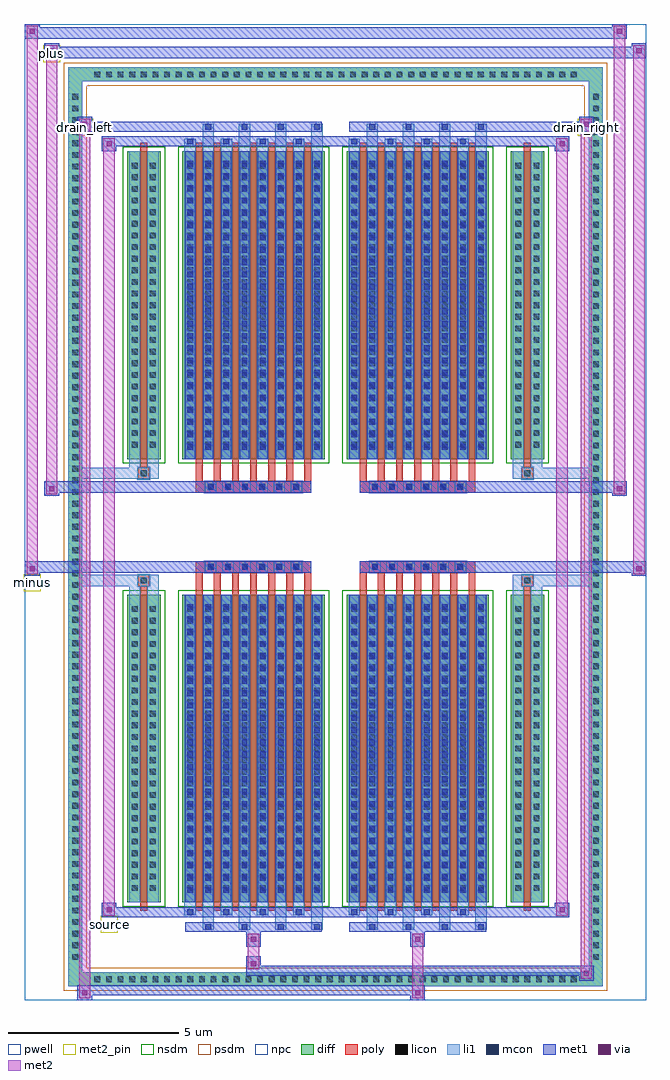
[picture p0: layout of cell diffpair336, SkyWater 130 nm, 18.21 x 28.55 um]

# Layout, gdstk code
import gdstk
lib = gdstk.Library(unit=1e-6, precision=5e-09)
def R(c, l, rs):  # rectangles x0, y0, x1, y1
    for r in rs: c.add(gdstk.rectangle(r[:2], r[2:], *l))
def A(c, l, x, y, w, h, nx, ny, dx, dy):  # array of equal rectangles
    R(c, l, [(x+i*dx, y+j*dy, x+i*dx+w, y+j*dy+h) for i in range(nx) for j in range(ny)])
def P(c, l, *ps):  # polygons
    for p in ps: c.add(gdstk.Polygon(p, *l))
pwell = (64, 44)
diff = (65, 20)
poly = (66, 20)
licon = (66, 44)
li1 = (67, 20)
mcon = (67, 44)
met1 = (68, 20)
via = (68, 44)
met2_pin = (69, 16)
met2 = (69, 20)
nsdm = (93, 44)
psdm = (94, 20)
npc = (95, 20)

diffpair336 = lib.new_cell('diffpair336')
R(diffpair336, pwell, [(-9.09,-13.84,9.09,14.71), (-6.41,-12.03,-0.01,-0.805), (0.01,-12.03,6.41,-0.805), (-6.41,0.805,-0.01,12.03), (0.01,0.805,6.41,12.03)])
A(diffpair336, diff, -7.175, -13.44, 0.41, 0.41, 42, 2, 0.34, 26.47)
A(diffpair336, diff, -7.82, -12.785, 0.41, 0.41, 1, 75, 0, 0.34)
A(diffpair336, diff, 7.41, -12.785, 0.41, 0.41, 1, 75, 0, 0.34)
R(diffpair336, diff, [(-7.175,-13.44,7.175,-13.03), (-7.82,-12.785,-7.41,12.785), (7.41,-12.785,7.82,12.785), (-6.1,-10.985,-5.12,-1.985), (-4.48,-10.985,-0.32,-1.985), (0.32,-10.985,4.48,-1.985), (5.12,-10.985,6.1,-1.985), (-6.1,1.985,-5.12,10.985), (-4.48,1.985,-0.32,10.985), (0.32,1.985,4.48,10.985), (5.12,1.985,6.1,10.985), (-7.175,13.03,7.175,13.44)])
P(diffpair336, diff, [(7.82,13.44),(-7.82,13.44),(-7.82,-13.03),(-7.41,-13.03),(-7.41,13.03),(7.41,13.03),(7.41,-13.03),(-7.41,-13.03),(-7.82,-13.03),(-7.82,-13.44),(7.82,-13.44)])
A(diffpair336, poly, -4.09, -11.235, 0.2, 9.5, 7, 2, 0.53, 12.97)
A(diffpair336, poly, 0.71, -11.235, 0.2, 9.5, 7, 2, 0.53, 12.97)
A(diffpair336, poly, -4.09, -1.735, 0.2, 0.4, 7, 2, 0.53, 3.07)
A(diffpair336, poly, 0.71, -1.735, 0.2, 0.4, 7, 2, 0.53, 3.07)
A(diffpair336, poly, -3.815, -1.335, 0.33, 0.33, 6, 2, 0.5, 2.34)
A(diffpair336, poly, 0.985, -1.335, 0.33, 0.33, 6, 2, 0.5, 2.34)
R(diffpair336, poly, [(-5.71,-11.235,-5.51,-1.735), (5.51,-11.235,5.71,-1.735), (-5.775,-1.735,-5.445,-1.405), (-5.775,-1.735,-5.445,-1.405), (5.445,-1.735,5.775,-1.405), (5.445,-1.735,5.775,-1.405), (-4.09,-1.335,-0.71,-1.005), (0.71,-1.335,4.09,-1.005), (-4.09,1.005,-0.71,1.335), (0.71,1.005,4.09,1.335), (-5.775,1.405,-5.445,1.735), (-5.775,1.405,-5.445,1.735), (5.445,1.405,5.775,1.735), (5.445,1.405,5.775,1.735), (-5.71,1.735,-5.51,11.235), (5.51,1.735,5.71,11.235)])
A(diffpair336, licon, -7.055, -13.32, 0.17, 0.17, 42, 2, 0.34, 26.47)
A(diffpair336, licon, -7.7, -12.665, 0.17, 0.17, 1, 75, 0, 0.34)
A(diffpair336, licon, 7.53, -12.665, 0.17, 0.17, 1, 75, 0, 0.34)
A(diffpair336, licon, -5.96, -10.65, 0.17, 0.17, 1, 25, 0, 0.34)
A(diffpair336, licon, -5.43, -10.65, 0.17, 0.17, 1, 25, 0, 0.34)
A(diffpair336, licon, -4.34, -10.65, 0.17, 0.17, 8, 25, 0.53, 0.34)
A(diffpair336, licon, 0.46, -10.65, 0.17, 0.17, 8, 25, 0.53, 0.34)
A(diffpair336, licon, 5.26, -10.65, 0.17, 0.17, 1, 25, 0, 0.34)
A(diffpair336, licon, 5.79, -10.65, 0.17, 0.17, 1, 25, 0, 0.34)
A(diffpair336, licon, -3.735, -1.255, 0.17, 0.17, 6, 2, 0.5, 2.34)
A(diffpair336, licon, 1.065, -1.255, 0.17, 0.17, 6, 2, 0.5, 2.34)
A(diffpair336, licon, -5.96, 2.32, 0.17, 0.17, 1, 25, 0, 0.34)
A(diffpair336, licon, -5.43, 2.32, 0.17, 0.17, 1, 25, 0, 0.34)
A(diffpair336, licon, -4.34, 2.32, 0.17, 0.17, 8, 25, 0.53, 0.34)
A(diffpair336, licon, 0.46, 2.32, 0.17, 0.17, 8, 25, 0.53, 0.34)
A(diffpair336, licon, 5.26, 2.32, 0.17, 0.17, 1, 25, 0, 0.34)
A(diffpair336, licon, 5.79, 2.32, 0.17, 0.17, 1, 25, 0, 0.34)
R(diffpair336, licon, [(-5.695,-1.655,-5.525,-1.485), (5.525,-1.655,5.695,-1.485), (-5.695,1.485,-5.525,1.655), (5.525,1.485,5.695,1.655)])
A(diffpair336, li1, -7.135, -13.4, 0.33, 0.33, 42, 2, 0.34, 26.47)
A(diffpair336, li1, -7.78, -12.745, 0.33, 0.33, 1, 75, 0, 0.34)
A(diffpair336, li1, 7.45, -12.745, 0.33, 0.33, 1, 75, 0, 0.34)
A(diffpair336, li1, -3.89, -11.79, 0.33, 0.805, 4, 2, 1.06, 22.775)
A(diffpair336, li1, -3.81, -11.79, 0.17, 0.17, 4, 2, 1.06, 23.41)
A(diffpair336, li1, 0.91, -11.79, 0.33, 0.805, 4, 2, 1.06, 22.775)
A(diffpair336, li1, 0.99, -11.79, 0.17, 0.17, 4, 2, 1.06, 23.41)
A(diffpair336, li1, -4.42, -11.36, 0.33, 0.375, 4, 2, 1.06, 22.345)
A(diffpair336, li1, -4.34, -11.36, 0.17, 0.17, 4, 2, 1.06, 22.55)
A(diffpair336, li1, 0.38, -11.36, 0.33, 0.375, 4, 2, 1.06, 22.345)
A(diffpair336, li1, 0.46, -11.36, 0.17, 0.17, 4, 2, 1.06, 22.55)
A(diffpair336, li1, -4.42, -10.985, 0.33, 9, 8, 2, 0.53, 12.97)
A(diffpair336, li1, 0.38, -10.985, 0.33, 9, 8, 2, 0.53, 12.97)
A(diffpair336, li1, -6.04, -10.73, 0.33, 0.33, 1, 25, 0, 0.34)
A(diffpair336, li1, -5.51, -10.73, 0.33, 0.33, 1, 25, 0, 0.34)
A(diffpair336, li1, -4.42, -10.73, 0.33, 0.33, 8, 25, 0.53, 0.34)
A(diffpair336, li1, 0.38, -10.73, 0.33, 0.33, 8, 25, 0.53, 0.34)
A(diffpair336, li1, 5.18, -10.73, 0.33, 0.33, 1, 25, 0, 0.34)
A(diffpair336, li1, 5.71, -10.73, 0.33, 0.33, 1, 25, 0, 0.34)
A(diffpair336, li1, -4.34, -10.71, 0.17, 0.17, 8, 24, 0.53, 0.36)
A(diffpair336, li1, -4.34, -10.71, 0.17, 8.45, 8, 2, 0.53, 12.97)
A(diffpair336, li1, 0.46, -10.71, 0.17, 0.17, 8, 24, 0.53, 0.36)
A(diffpair336, li1, 0.46, -10.71, 0.17, 8.45, 8, 2, 0.53, 12.97)
A(diffpair336, li1, -3.815, -1.335, 0.33, 0.33, 6, 2, 0.5, 2.34)
A(diffpair336, li1, 0.985, -1.335, 0.33, 0.33, 6, 2, 0.5, 2.34)
A(diffpair336, li1, -6.04, 2.24, 0.33, 0.33, 1, 25, 0, 0.34)
A(diffpair336, li1, -5.51, 2.24, 0.33, 0.33, 1, 25, 0, 0.34)
A(diffpair336, li1, -4.42, 2.24, 0.33, 0.33, 8, 25, 0.53, 0.34)
A(diffpair336, li1, 0.38, 2.24, 0.33, 0.33, 8, 25, 0.53, 0.34)
A(diffpair336, li1, 5.18, 2.24, 0.33, 0.33, 1, 25, 0, 0.34)
A(diffpair336, li1, 5.71, 2.24, 0.33, 0.33, 1, 25, 0, 0.34)
A(diffpair336, li1, -4.34, 2.26, 0.17, 0.17, 8, 24, 0.53, 0.36)
A(diffpair336, li1, 0.46, 2.26, 0.17, 0.17, 8, 24, 0.53, 0.36)
R(diffpair336, li1, [(-7.82,-13.44,-7.41,-13.03), (-7.82,-13.44,-7.41,-13.03), (-7.41,-13.44,7.41,-13.03), (7.41,-13.44,7.82,-13.03), (7.41,-13.44,7.82,-13.03), (-7.82,-13.03,-7.41,13.03), (7.41,-13.03,7.82,13.03), (-6.04,-10.985,-5.71,-1.985), (-5.51,-10.985,-5.18,-1.985), (5.18,-10.985,5.51,-1.985), (5.71,-10.985,6.04,-1.985), (-6.04,-1.985,-5.71,-1.405), (-5.51,-1.985,-5.18,-1.405), (5.18,-1.985,5.51,-1.405), (5.71,-1.985,6.04,-1.405), (-7.82,-1.735,-5.775,-1.405), (-6.04,-1.735,-5.775,-1.405), (-5.775,-1.735,-5.445,-1.405), (-5.445,-1.735,-5.18,-1.405), (5.18,-1.735,5.445,-1.405), (5.445,-1.735,5.775,-1.405), (5.445,-1.735,7.82,-1.405), (5.775,-1.735,6.04,-1.405), (-7.82,1.405,-5.775,1.735), (-6.04,1.405,-5.775,1.735), (-6.04,1.405,-5.71,1.985), (-5.775,1.405,-5.445,1.735), (-5.51,1.405,-5.18,1.985), (-5.445,1.405,-5.18,1.735), (5.18,1.405,5.445,1.735), (5.18,1.405,5.51,1.985), (5.445,1.405,5.775,1.735), (5.445,1.405,7.82,1.735), (5.71,1.405,6.04,1.985), (5.775,1.405,6.04,1.735), (-6.04,1.985,-5.71,10.985), (-5.51,1.985,-5.18,10.985), (5.18,1.985,5.51,10.985), (5.71,1.985,6.04,10.985), (-7.82,13.03,-7.41,13.44), (-7.82,13.03,-7.41,13.44), (-7.41,13.03,7.41,13.44), (7.41,13.03,7.82,13.44), (7.41,13.03,7.82,13.44)])
A(diffpair336, mcon, -3.81, -11.79, 0.17, 0.17, 4, 2, 1.06, 23.41)
A(diffpair336, mcon, 0.99, -11.79, 0.17, 0.17, 4, 2, 1.06, 23.41)
A(diffpair336, mcon, -4.34, -11.36, 0.17, 0.17, 4, 2, 1.06, 22.55)
A(diffpair336, mcon, 0.46, -11.36, 0.17, 0.17, 4, 2, 1.06, 22.55)
A(diffpair336, mcon, -4.34, -10.71, 0.17, 0.17, 8, 24, 0.53, 0.36)
A(diffpair336, mcon, 0.46, -10.71, 0.17, 0.17, 8, 24, 0.53, 0.36)
A(diffpair336, mcon, -3.735, -1.255, 0.17, 0.17, 6, 2, 0.5, 2.34)
A(diffpair336, mcon, 1.065, -1.255, 0.17, 0.17, 6, 2, 0.5, 2.34)
A(diffpair336, mcon, -4.34, 2.26, 0.17, 0.17, 8, 24, 0.53, 0.36)
A(diffpair336, mcon, 0.46, 2.26, 0.17, 0.17, 8, 24, 0.53, 0.36)
A(diffpair336, met1, -3.87, -11.85, 0.29, 0.29, 4, 2, 1.06, 23.41)
A(diffpair336, met1, 0.93, -11.85, 0.29, 0.29, 4, 2, 1.06, 23.41)
A(diffpair336, met1, -4.4, -11.42, 0.29, 0.29, 4, 2, 1.06, 22.55)
A(diffpair336, met1, 0.4, -11.42, 0.29, 0.29, 4, 2, 1.06, 22.55)
A(diffpair336, met1, -4.4, -10.985, 0.29, 9, 8, 2, 0.53, 12.97)
A(diffpair336, met1, 0.4, -10.985, 0.29, 9, 8, 2, 0.53, 12.97)
A(diffpair336, met1, -4.4, -10.77, 0.29, 0.29, 8, 24, 0.53, 0.36)
A(diffpair336, met1, 0.4, -10.77, 0.29, 0.29, 8, 24, 0.53, 0.36)
A(diffpair336, met1, -3.795, -1.315, 0.29, 0.29, 6, 2, 0.5, 2.34)
A(diffpair336, met1, 1.005, -1.315, 0.29, 0.29, 6, 2, 0.5, 2.34)
A(diffpair336, met1, -4.4, 2.2, 0.29, 0.29, 8, 24, 0.53, 0.36)
A(diffpair336, met1, 0.4, 2.2, 0.29, 0.29, 8, 24, 0.53, 0.36)
R(diffpair336, met1, [(-7.55,-13.84,-7.12,-13.41), (2.185,-13.84,2.615,-13.41), (-7.55,-13.7,2.615,-13.41), (7.12,-13.27,7.55,-12.84), (-2.615,-13.13,7.55,-12.84), (-2.615,-12.99,-2.185,-12.56), (-2.615,-12.28,-2.185,-11.85), (2.185,-12.28,2.615,-11.85), (-4.4,-11.85,-0.4,-11.56), (0.4,-11.85,4.4,-11.56), (-6.84,-11.42,-6.41,-10.99), (-6.84,-11.42,-4.4,-11.13), (-4.4,-11.42,-0.4,-11.13), (-0.4,-11.42,0.4,-11.13), (0.4,-11.42,4.4,-11.13), (4.4,-11.42,6.84,-11.13), (6.41,-11.42,6.84,-10.99), (-9.09,-1.435,-8.66,-1.005), (8.66,-1.435,9.09,-1.005), (-9.09,-1.335,-0.71,-1.005), (-4.09,-1.335,-0.71,-1.005), (0.71,-1.335,4.09,-1.005), (0.71,-1.335,9.09,-1.005), (-8.52,0.905,-8.09,1.335), (8.09,0.905,8.52,1.335), (-8.52,1.005,-4.09,1.335), (-4.09,1.005,-0.71,1.335), (0.71,1.005,4.09,1.335), (4.09,1.005,8.52,1.335), (-6.84,10.99,-6.41,11.42), (6.41,10.99,6.84,11.42), (-6.84,11.13,-4.4,11.42), (-4.4,11.13,-0.4,11.42), (-0.4,11.13,0.4,11.42), (0.4,11.13,4.4,11.42), (4.4,11.13,6.84,11.42), (-7.55,11.56,-7.12,11.99), (-7.55,11.56,-4.4,11.85), (-4.4,11.56,-0.4,11.85), (0.4,11.56,4.4,11.85), (4.4,11.56,7.55,11.85), (7.12,11.56,7.55,11.99), (-8.52,13.71,-8.09,14.14), (-8.52,13.71,-6.41,14.04), (-6.41,13.71,6.41,14.04), (6.41,13.71,9.09,14.04), (8.66,13.71,9.09,14.14), (-9.09,14.28,-8.66,14.71), (-9.09,14.28,-6.41,14.61), (-6.41,14.28,6.41,14.61), (6.41,14.28,8.52,14.61), (8.09,14.28,8.52,14.71)])
R(diffpair336, via, [(-7.41,-13.7,-7.26,-13.55), (2.325,-13.7,2.475,-13.55), (7.26,-13.13,7.41,-12.98), (-2.475,-12.85,-2.325,-12.7), (-2.475,-12.14,-2.325,-11.99), (2.325,-12.14,2.475,-11.99), (-6.7,-11.28,-6.55,-11.13), (6.55,-11.28,6.7,-11.13), (-8.95,-1.295,-8.8,-1.145), (8.8,-1.295,8.95,-1.145), (-8.38,1.045,-8.23,1.195), (8.23,1.045,8.38,1.195), (-6.7,11.13,-6.55,11.28), (6.55,11.13,6.7,11.28), (-7.41,11.7,-7.26,11.85), (7.26,11.7,7.41,11.85), (-8.38,13.85,-8.23,14), (8.8,13.85,8.95,14), (-8.95,14.42,-8.8,14.57), (8.23,14.42,8.38,14.57)])
R(diffpair336, met2_pin, [(-6.875,-11.87,-6.375,-11.37), (-9.125,-1.885,-8.625,-1.385), (-7.585,11.44,-7.085,11.94), (7.085,11.44,7.585,11.94), (-8.555,13.59,-8.055,14.09)])
R(diffpair336, met2, [(-7.5,-13.79,-7.17,-13.46), (-7.5,-13.79,-7.17,11.94), (2.235,-13.79,2.565,-13.46), (2.235,-13.46,2.565,-12.23), (7.17,-13.22,7.5,-12.89), (7.17,-13.22,7.5,11.94), (-2.565,-12.94,-2.235,-12.61), (-2.565,-12.61,-2.235,-12.23), (-2.565,-12.23,-2.235,-11.9), (2.235,-12.23,2.565,-11.9), (-6.79,-11.37,-6.46,-11.04), (-6.79,-11.37,-6.46,11.37), (6.46,-11.37,6.79,-11.04), (6.46,-11.37,6.79,11.37), (-9.04,-1.385,-8.71,-1.055), (-9.04,-1.385,-8.71,14.66), (8.71,-1.385,9.04,-1.055), (8.71,-1.385,9.04,14.09), (-8.47,0.955,-8.14,1.285), (-8.47,0.955,-8.14,14.09), (8.14,0.955,8.47,1.285), (8.14,0.955,8.47,14.66), (-6.79,11.04,-6.46,11.37), (6.46,11.04,6.79,11.37), (-7.5,11.61,-7.17,11.94), (7.17,11.61,7.5,11.94), (-8.47,13.76,-8.14,14.09), (8.71,13.76,9.04,14.09), (-9.04,14.33,-8.71,14.66), (8.14,14.33,8.47,14.66)])
P(diffpair336, met2, [(9.04,-1.385),(9.04,-1.385),(9.04,-1.055),(9.04,-1.055)],
  [(9.04,13.76),(9.04,13.76),(9.04,14.09),(9.04,14.09)],
  [(-8.71,-1.385),(-8.71,-1.385),(-8.71,-1.055),(-8.71,-1.055)],
  [(-8.71,14.33),(-8.71,14.33),(-8.71,14.66),(-8.71,14.66)],
  [(8.47,0.955),(8.47,0.955),(8.47,1.285),(8.47,1.285)],
  [(8.47,14.33),(8.47,14.33),(8.47,14.66),(8.47,14.66)],
  [(-8.14,0.955),(-8.14,0.955),(-8.14,1.285),(-8.14,1.285)],
  [(-8.14,13.76),(-8.14,13.76),(-8.14,14.09),(-8.14,14.09)],
  [(-7.17,-13.79),(-7.17,-13.79),(-7.17,-13.46),(-7.17,-13.46)],
  [(-7.17,11.61),(-7.17,11.61),(-7.17,11.94),(-7.17,11.94)],
  [(7.5,-13.22),(7.5,-13.22),(7.5,-12.89),(7.5,-12.89)],
  [(7.5,11.61),(7.5,11.61),(7.5,11.94),(7.5,11.94)],
  [(-6.46,-11.37),(-6.46,-11.37),(-6.46,-11.04),(-6.46,-11.04)],
  [(-6.46,11.04),(-6.46,11.04),(-6.46,11.37),(-6.46,11.37)],
  [(6.79,-11.37),(6.79,-11.37),(6.79,-11.04),(6.79,-11.04)],
  [(6.79,11.04),(6.79,11.04),(6.79,11.37),(6.79,11.37)])
R(diffpair336, nsdm, [(-6.23,-11.115,-4.99,-1.855), (-4.61,-11.115,-0.19,-1.855), (0.19,-11.115,4.61,-1.855), (4.99,-11.115,6.23,-1.855), (-6.23,1.855,-4.99,11.115), (-4.61,1.855,-0.19,11.115), (0.19,1.855,4.61,11.115), (4.99,1.855,6.23,11.115)])
P(diffpair336, psdm, [(7.95,13.57),(-7.95,13.57),(-7.95,-12.9),(-7.28,-12.9),(-7.28,12.9),(7.28,12.9),(7.28,-12.9),(-7.28,-12.9),(-7.95,-12.9),(-7.95,-13.57),(7.95,-13.57)])
A(diffpair336, npc, -3.835, -1.355, 0.37, 0.37, 6, 2, 0.5, 2.34)
A(diffpair336, npc, 0.965, -1.355, 0.37, 0.37, 6, 2, 0.5, 2.34)
R(diffpair336, npc, [(-5.795,-1.755,-5.425,-1.385), (5.425,-1.755,5.795,-1.385), (-3.835,-1.355,-2.965,-0.985), (-3.835,-1.355,-2.965,-0.985), (-3.335,-1.355,-2.465,-0.985), (-3.335,-1.355,-2.465,-0.985), (-2.835,-1.355,-1.965,-0.985), (-2.835,-1.355,-1.965,-0.985), (-2.335,-1.355,-1.465,-0.985), (-2.335,-1.355,-1.465,-0.985), (-1.835,-1.355,-0.965,-0.985), (-1.835,-1.355,-0.965,-0.985), (0.965,-1.355,1.835,-0.985), (0.965,-1.355,1.835,-0.985), (1.465,-1.355,2.335,-0.985), (1.465,-1.355,2.335,-0.985), (1.965,-1.355,2.835,-0.985), (1.965,-1.355,2.835,-0.985), (2.465,-1.355,3.335,-0.985), (2.465,-1.355,3.335,-0.985), (2.965,-1.355,3.835,-0.985), (2.965,-1.355,3.835,-0.985), (-3.835,0.985,-2.965,1.355), (-3.835,0.985,-2.965,1.355), (-3.335,0.985,-2.465,1.355), (-3.335,0.985,-2.465,1.355), (-2.835,0.985,-1.965,1.355), (-2.835,0.985,-1.965,1.355), (-2.335,0.985,-1.465,1.355), (-2.335,0.985,-1.465,1.355), (-1.835,0.985,-0.965,1.355), (-1.835,0.985,-0.965,1.355), (0.965,0.985,1.835,1.355), (0.965,0.985,1.835,1.355), (1.465,0.985,2.335,1.355), (1.465,0.985,2.335,1.355), (1.965,0.985,2.835,1.355), (1.965,0.985,2.835,1.355), (2.465,0.985,3.335,1.355), (2.465,0.985,3.335,1.355), (2.965,0.985,3.835,1.355), (2.965,0.985,3.835,1.355), (-5.795,1.385,-5.425,1.755), (5.425,1.385,5.795,1.755)])
diffpair336.add(gdstk.Label('minus', (-8.875,-1.635), layer=69, texttype=5))
diffpair336.add(gdstk.Label('drain_right', (7.335,11.69), layer=69, texttype=5))
diffpair336.add(gdstk.Label('drain_left', (-7.335,11.69), layer=69, texttype=5))
diffpair336.add(gdstk.Label('source', (-6.625,-11.62), layer=69, texttype=5))
diffpair336.add(gdstk.Label('plus', (-8.305,13.84), layer=69, texttype=5))

lib.write_gds('diffpair336.gds')
